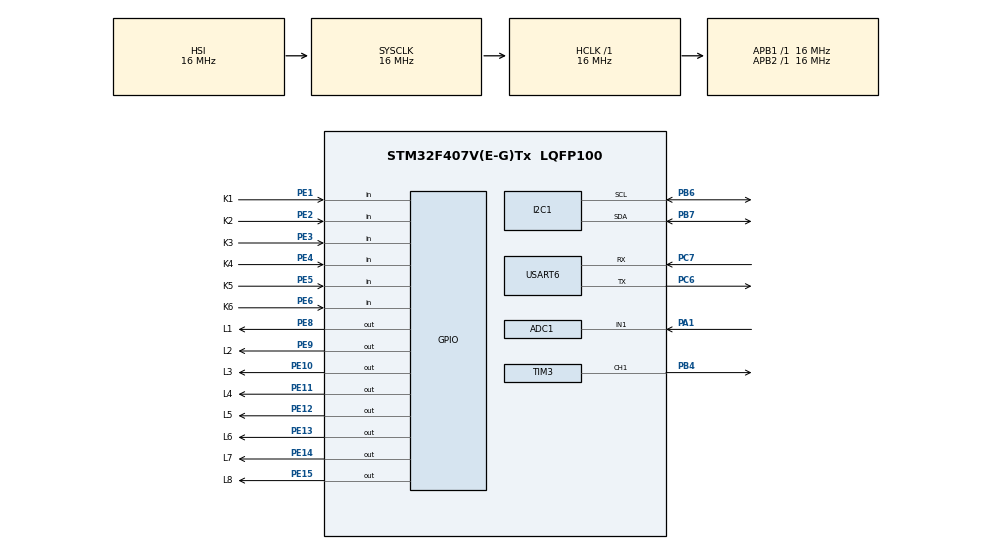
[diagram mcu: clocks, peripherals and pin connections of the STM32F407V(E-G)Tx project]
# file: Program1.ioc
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ADC1.Channel-2\#ChannelRegularConversion=ADC_CHANNEL_1
ADC1.NbrOfConversionFlag=1
ADC1.Rank-2\#ChannelRegularConversion=1
ADC1.SamplingTime-2\#ChannelRegularConversion=ADC_SAMPLETIME_3CYCLES
ADC1.master=1
Mcu.Family=STM32F4
Mcu.Name=STM32F407V(E-G)Tx
Mcu.Package=LQFP100
NVIC.PriorityGroup=NVIC_PRIORITYGROUP_4
NVIC.TIM2_IRQn=true\:0\:0\:false\:false\:true\:true\:true\:true
NVIC.TIM3_IRQn=true\:0\:0\:false\:false\:true\:true\:true\:true
PA1.Signal=ADCx_IN1
PB4.Signal=S_TIM3_CH1
PB6.Mode=I2C
PB6.Signal=I2C1_SCL
PB7.Mode=I2C
PB7.Signal=I2C1_SDA
PC6.Mode=Asynchronous
PC6.Signal=USART6_TX
PC7.Mode=Asynchronous
PC7.Signal=USART6_RX
PE1.GPIO_Label=K1
PE1.GPIO_PuPd=GPIO_PULLUP
PE1.Signal=GPIO_Input
PE10.GPIO_Label=L3
PE10.Signal=GPIO_Output
PE11.GPIO_Label=L4
PE11.Signal=GPIO_Output
PE12.GPIO_Label=L5
PE12.Signal=GPIO_Output
PE13.GPIO_Label=L6
PE13.Signal=GPIO_Output
PE14.GPIO_Label=L7
PE14.Signal=GPIO_Output
PE15.GPIO_Label=L8
PE15.Signal=GPIO_Output
PE2.GPIO_Label=K2
PE2.GPIO_PuPd=GPIO_PULLUP
PE2.Signal=GPIO_Input
PE3.GPIO_Label=K3
PE3.GPIO_PuPd=GPIO_PULLUP
PE3.Signal=GPIO_Input
PE4.GPIO_Label=K4
PE4.GPIO_PuPd=GPIO_PULLUP
PE4.Signal=GPIO_Input
PE5.GPIO_Label=K5
PE5.GPIO_PuPd=GPIO_PULLUP
PE5.Signal=GPIO_Input
PE6.GPIO_Label=K6
PE6.GPIO_PuPd=GPIO_PULLUP
PE6.Signal=GPIO_Input
PE8.GPIO_Label=L1
PE8.Signal=GPIO_Output
PE9.GPIO_Label=L2
PE9.Signal=GPIO_Output
ProjectManager.HeapSize=0x200
ProjectManager.StackSize=0x400
ProjectManager.TargetToolchain=CMake
RCC.AHBFreq_Value=16000000
RCC.APB1Freq_Value=16000000
RCC.APB2Freq_Value=16000000
RCC.CortexFreq_Value=16000000
RCC.HSE_VALUE=25000000
RCC.HSI_VALUE=16000000
RCC.LSE_VALUE=32768
RCC.SYSCLKFreq_VALUE=16000000
RCC.VCOOutputFreq_Value=192000000
SH.ADCx_IN1.0=ADC1_IN1,IN1
SH.S_TIM3_CH1.0=TIM3_CH1,PWM Generation1 CH1
TIM3.Channel-PWM\ Generation1\ CH1=TIM_CHANNEL_1
USART6.VirtualMode=VM_ASYNC
VP_TIM2_VS_ClockSourceINT.Mode=Internal
VP_TIM3_VS_ClockSourceINT.Mode=Internal
board=custom

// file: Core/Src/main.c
/* USER CODE BEGIN Header */
/**
  ******************************************************************************
  * @file           : main.c
  * @brief          : Main program body
  ******************************************************************************
  * @attention
  *
  * Copyright (c) 2026 STMicroelectronics.
  * All rights reserved.
  *
  * This software is licensed under terms that can be found in the LICENSE file
  * in the root directory of this software component.
  * If no LICENSE file comes with this software, it is provided AS-IS.
  *
  ******************************************************************************
  */
/* USER CODE END Header */
#include "main.h"
#include "key.h"
#include "led.h"
#include "stm32f4xx.h"
#include "stm32f4xx_hal_gpio.h"

/* USER CODE BEGIN Includes */
#include "oled.h"
#include "music.h"
#include <stdint.h>
#include <stdio.h>

/* USER CODE END Includes */

ADC_HandleTypeDef hadc1;

I2C_HandleTypeDef hi2c1;

TIM_HandleTypeDef htim2;
TIM_HandleTypeDef htim3;

UART_HandleTypeDef huart6;

/* USER CODE BEGIN PV */

DMA_HandleTypeDef hdma_i2c1_tx;
volatile uint32_t g_oled_fps_x100 = 0;
volatile uint32_t g_oled_frame_ms_x100 = 0;

/* USER CODE END PV */

void SystemClock_Config(void);
static void MX_GPIO_Init(void);
static void MX_I2C1_Init(void);
static void MX_USART6_UART_Init(void);
static void MX_TIM2_Init(void);
static void MX_TIM3_Init(void);
static void MX_ADC1_Init(void);

/* USER CODE BEGIN 0 */

static const Music_Tone g_boot_melody[] = {
  {NOTE_M1, 180u}, {NOTE_M2, 180u}, {NOTE_M3, 180u}, {NOTE_M4, 180u},
  {NOTE_M5, 180u}, {NOTE_M6, 180u}, {NOTE_M7, 180u}, {NOTE_H1, 260u}
};

static uint8_t g_oled_ready = 0u;

/**
  * @brief 实时刷新 OLED 上的流水灯状态信息。
  * @param None
  * @retval None
  */
static void App_OLED_ShowLedStatus(void)
{
  char line[24];
  const char *dir_text;

  if (g_oled_ready == 0u)
  {
    return;
  }

  dir_text = (LED_GetDirection() == LED_DIR_FORWARD) ? "FORWARD" : "REVERSE";

  OLED_Clear();
  OLED_SetCursor(0, 0);
  snprintf(line, sizeof(line), "SPD:%uMS", (unsigned)LED_GetStepMs());
  OLED_WriteString(line);

  OLED_SetCursor(0, 1);
  snprintf(line, sizeof(line), "DIR:%s", dir_text);
  OLED_WriteString(line);

  OLED_SetCursor(0, 2);
  snprintf(line, sizeof(line), "RUN:%s", LED_IsRunning() ? "ON" : "OFF");
  OLED_WriteString(line);

  (void)OLED_UpdateScreenDMA();
}

/* USER CODE END 0 */

int main(void)
{

  /* MCU Configuration--------------------------------------------------------*/

  /* Reset of all peripherals, Initializes the Flash interface and the Systick. */
  HAL_Init();

  /* Configure the system clock */
  SystemClock_Config();

  /* Initialize all configured peripherals */
  MX_GPIO_Init();
  MX_I2C1_Init();
  MX_USART6_UART_Init();
  MX_TIM2_Init();
  MX_TIM3_Init();
  MX_ADC1_Init();
  /* USER CODE BEGIN 2 */

  if (OLED_Init() == HAL_OK)
  {
    char line[24];

    OLED_Clear();
    OLED_SetCursor(0, 0);
    OLED_WriteString("DMA I2C OLED");
    OLED_SetCursor(0, 1);
    OLED_WriteString("STM32F407");
    OLED_UpdateScreenDMA();

    if (OLED_BenchmarkFPS(30, (uint32_t *)&g_oled_fps_x100, (uint32_t *)&g_oled_frame_ms_x100) == HAL_OK)
    {
      OLED_Clear();
      OLED_SetCursor(0, 0);
      snprintf(line, sizeof(line), "FPS:%lu.%02lu",
               (unsigned long)(g_oled_fps_x100 / 100u),
               (unsigned long)(g_oled_fps_x100 % 100u));
      OLED_WriteString(line);

      OLED_SetCursor(0, 1);
      snprintf(line, sizeof(line), "T:%lu.%02luMS",
               (unsigned long)(g_oled_frame_ms_x100 / 100u),
               (unsigned long)(g_oled_frame_ms_x100 % 100u));
      OLED_WriteString(line);
      OLED_UpdateScreenDMA();
    }

    g_oled_ready = 1u;
  }

  if (Music_Init(&htim3, TIM_CHANNEL_1) == HAL_OK)
  {
    (void)Music_StartMelody(g_boot_melody,
                            (uint16_t)(sizeof(g_boot_melody) / sizeof(g_boot_melody[0])),
                            50u);
  }

  if (HAL_TIM_Base_Start_IT(&htim2) != HAL_OK)
  {
    Error_Handler();
  }

  /* USER CODE END 2 */

  LED_Init();
  App_OLED_ShowLedStatus();

  /* Infinite loop */
  /* USER CODE BEGIN WHILE */
  while (1)
  {
    uint8_t key = Key_Scan();
    /* USER CODE END WHILE */
    LED_Task();

    if (key == KEY_1)
    {
      LED_ToggleRun();
      App_OLED_ShowLedStatus();
    }
    else if (key == KEY_2)
    {
      LED_CycleSpeedPreset();
      App_OLED_ShowLedStatus();
    }
    else if (key == KEY_3)
    {
      LED_ToggleDirection();
      App_OLED_ShowLedStatus();
    }
  }
}

void SystemClock_Config(void)
{
  RCC_OscInitTypeDef RCC_OscInitStruct = {0};
  RCC_ClkInitTypeDef RCC_ClkInitStruct = {0};

  /** Configure the main internal regulator output voltage
  */
  __HAL_RCC_PWR_CLK_ENABLE();
  __HAL_PWR_VOLTAGESCALING_CONFIG(PWR_REGULATOR_VOLTAGE_SCALE1);

  /** Initializes the RCC Oscillators according to the specified parameters
  * in the RCC_OscInitTypeDef structure.
  */
  RCC_OscInitStruct.OscillatorType = RCC_OSCILLATORTYPE_HSI;
  RCC_OscInitStruct.HSIState = RCC_HSI_ON;
  RCC_OscInitStruct.HSICalibrationValue = RCC_HSICALIBRATION_DEFAULT;
  RCC_OscInitStruct.PLL.PLLState = RCC_PLL_NONE;
  if (HAL_RCC_OscConfig(&RCC_OscInitStruct) != HAL_OK)
  {
    Error_Handler();
  }

  /** Initializes the CPU, AHB and APB buses clocks
  */
  RCC_ClkInitStruct.ClockType = RCC_CLOCKTYPE_HCLK|RCC_CLOCKTYPE_SYSCLK
                              |RCC_CLOCKTYPE_PCLK1|RCC_CLOCKTYPE_PCLK2;
  RCC_ClkInitStruct.SYSCLKSource = RCC_SYSCLKSOURCE_HSI;
  RCC_ClkInitStruct.AHBCLKDivider = RCC_SYSCLK_DIV1;
  RCC_ClkInitStruct.APB1CLKDivider = RCC_HCLK_DIV1;
  RCC_ClkInitStruct.APB2CLKDivider = RCC_HCLK_DIV1;

  if (HAL_RCC_ClockConfig(&RCC_ClkInitStruct, FLASH_LATENCY_0) != HAL_OK)
  {
    Error_Handler();
  }
}

static void MX_ADC1_Init(void)
{

  ADC_ChannelConfTypeDef sConfig = {0};

  /** Configure the global features of the ADC (Clock, Resolution, Data Alignment and number of conversion)
  */
  hadc1.Instance = ADC1;
  hadc1.Init.ClockPrescaler = ADC_CLOCK_SYNC_PCLK_DIV2;
  hadc1.Init.Resolution = ADC_RESOLUTION_12B;
  hadc1.Init.ScanConvMode = DISABLE;
  hadc1.Init.ContinuousConvMode = DISABLE;
  hadc1.Init.DiscontinuousConvMode = DISABLE;
  hadc1.Init.ExternalTrigConvEdge = ADC_EXTERNALTRIGCONVEDGE_NONE;
  hadc1.Init.ExternalTrigConv = ADC_SOFTWARE_START;
  hadc1.Init.DataAlign = ADC_DATAALIGN_RIGHT;
  hadc1.Init.NbrOfConversion = 1;
  hadc1.Init.DMAContinuousRequests = DISABLE;
  hadc1.Init.EOCSelection = ADC_EOC_SINGLE_CONV;
  if (HAL_ADC_Init(&hadc1) != HAL_OK)
  {
    Error_Handler();
  }

  /** Configure for the selected ADC regular channel its corresponding rank in the sequencer and its sample time.
  */
  sConfig.Channel = ADC_CHANNEL_1;
  sConfig.Rank = 1;
  sConfig.SamplingTime = ADC_SAMPLETIME_3CYCLES;
  if (HAL_ADC_ConfigChannel(&hadc1, &sConfig) != HAL_OK)
  {
    Error_Handler();
  }

}

static void MX_I2C1_Init(void)
{

  hi2c1.Instance = I2C1;
  hi2c1.Init.ClockSpeed = 400000;
  hi2c1.Init.DutyCycle = I2C_DUTYCYCLE_2;
  hi2c1.Init.OwnAddress1 = 0;
  hi2c1.Init.AddressingMode = I2C_ADDRESSINGMODE_7BIT;
  hi2c1.Init.DualAddressMode = I2C_DUALADDRESS_DISABLE;
  hi2c1.Init.OwnAddress2 = 0;
  hi2c1.Init.GeneralCallMode = I2C_GENERALCALL_DISABLE;
  hi2c1.Init.NoStretchMode = I2C_NOSTRETCH_DISABLE;
  if (HAL_I2C_Init(&hi2c1) != HAL_OK)
  {
    Error_Handler();
  }

}

static void MX_TIM2_Init(void)
{

  TIM_ClockConfigTypeDef sClockSourceConfig = {0};
  TIM_MasterConfigTypeDef sMasterConfig = {0};

  htim2.Instance = TIM2;
  htim2.Init.Prescaler = 15999;
  htim2.Init.CounterMode = TIM_COUNTERMODE_UP;
  htim2.Init.Period = 0;
  htim2.Init.ClockDivision = TIM_CLOCKDIVISION_DIV1;
  htim2.Init.AutoReloadPreload = TIM_AUTORELOAD_PRELOAD_DISABLE;
  if (HAL_TIM_Base_Init(&htim2) != HAL_OK)
  {
    Error_Handler();
  }
  sClockSourceConfig.ClockSource = TIM_CLOCKSOURCE_INTERNAL;
  if (HAL_TIM_ConfigClockSource(&htim2, &sClockSourceConfig) != HAL_OK)
  {
    Error_Handler();
  }
  sMasterConfig.MasterOutputTrigger = TIM_TRGO_RESET;
  sMasterConfig.MasterSlaveMode = TIM_MASTERSLAVEMODE_DISABLE;
  if (HAL_TIMEx_MasterConfigSynchronization(&htim2, &sMasterConfig) != HAL_OK)
  {
    Error_Handler();
  }

}

static void MX_TIM3_Init(void)
{

  TIM_ClockConfigTypeDef sClockSourceConfig = {0};
  TIM_MasterConfigTypeDef sMasterConfig = {0};
  TIM_OC_InitTypeDef sConfigOC = {0};

  htim3.Instance = TIM3;
  htim3.Init.Prescaler = 0;
  htim3.Init.CounterMode = TIM_COUNTERMODE_UP;
  htim3.Init.Period = 65535;
  htim3.Init.ClockDivision = TIM_CLOCKDIVISION_DIV1;
  htim3.Init.AutoReloadPreload = TIM_AUTORELOAD_PRELOAD_DISABLE;
  if (HAL_TIM_Base_Init(&htim3) != HAL_OK)
  {
    Error_Handler();
  }
  sClockSourceConfig.ClockSource = TIM_CLOCKSOURCE_INTERNAL;
  if (HAL_TIM_ConfigClockSource(&htim3, &sClockSourceConfig) != HAL_OK)
  {
    Error_Handler();
  }
  if (HAL_TIM_PWM_Init(&htim3) != HAL_OK)
  {
    Error_Handler();
  }
  sMasterConfig.MasterOutputTrigger = TIM_TRGO_RESET;
  sMasterConfig.MasterSlaveMode = TIM_MASTERSLAVEMODE_DISABLE;
  if (HAL_TIMEx_MasterConfigSynchronization(&htim3, &sMasterConfig) != HAL_OK)
  {
    Error_Handler();
  }
  sConfigOC.OCMode = TIM_OCMODE_PWM1;
  sConfigOC.Pulse = 0;
  sConfigOC.OCPolarity = TIM_OCPOLARITY_HIGH;
  sConfigOC.OCFastMode = TIM_OCFAST_DISABLE;
  if (HAL_TIM_PWM_ConfigChannel(&htim3, &sConfigOC, TIM_CHANNEL_1) != HAL_OK)
  {
    Error_Handler();
  }
  HAL_TIM_MspPostInit(&htim3);

}

static void MX_USART6_UART_Init(void)
{

  huart6.Instance = USART6;
  huart6.Init.BaudRate = 115200;
  huart6.Init.WordLength = UART_WORDLENGTH_8B;
  huart6.Init.StopBits = UART_STOPBITS_1;
  huart6.Init.Parity = UART_PARITY_NONE;
  huart6.Init.Mode = UART_MODE_TX_RX;
  huart6.Init.HwFlowCtl = UART_HWCONTROL_NONE;
  huart6.Init.OverSampling = UART_OVERSAMPLING_16;
  if (HAL_UART_Init(&huart6) != HAL_OK)
  {
    Error_Handler();
  }

}

static void MX_GPIO_Init(void)
{
  GPIO_InitTypeDef GPIO_InitStruct = {0};

  /* GPIO Ports Clock Enable */
  __HAL_RCC_GPIOE_CLK_ENABLE();
  __HAL_RCC_GPIOA_CLK_ENABLE();
  __HAL_RCC_GPIOC_CLK_ENABLE();
  __HAL_RCC_GPIOB_CLK_ENABLE();

  /*Configure GPIO pin Output Level */
  HAL_GPIO_WritePin(GPIOE, L1_Pin|L2_Pin|L3_Pin|L4_Pin
                          |L5_Pin|L6_Pin|L7_Pin|L8_Pin, GPIO_PIN_RESET);

  /*Configure GPIO pins : K2_Pin K3_Pin K4_Pin K5_Pin
                           K6_Pin K1_Pin */
  GPIO_InitStruct.Pin = K2_Pin|K3_Pin|K4_Pin|K5_Pin
                          |K6_Pin|K1_Pin;
  GPIO_InitStruct.Mode = GPIO_MODE_INPUT;
  GPIO_InitStruct.Pull = GPIO_PULLUP;
  HAL_GPIO_Init(GPIOE, &GPIO_InitStruct);

  /*Configure GPIO pins : L1_Pin L2_Pin L3_Pin L4_Pin
                           L5_Pin L6_Pin L7_Pin L8_Pin */
  GPIO_InitStruct.Pin = L1_Pin|L2_Pin|L3_Pin|L4_Pin
                          |L5_Pin|L6_Pin|L7_Pin|L8_Pin;
  GPIO_InitStruct.Mode = GPIO_MODE_OUTPUT_PP;
  GPIO_InitStruct.Pull = GPIO_NOPULL;
  GPIO_InitStruct.Speed = GPIO_SPEED_FREQ_LOW;
  HAL_GPIO_Init(GPIOE, &GPIO_InitStruct);

}

/* USER CODE BEGIN 4 */

/**
  * @brief TIM 周期中断回调。
  * @param htim 触发中断的定时器句柄。
  * @retval None
  */
void HAL_TIM_PeriodElapsedCallback(TIM_HandleTypeDef *htim)
{
  if (htim->Instance == TIM2)
  {
    Key_TimerScan1ms();
  }
}

/* USER CODE END 4 */

void Error_Handler(void)
{
  __disable_irq();
  while (1)
  {
  }
}
